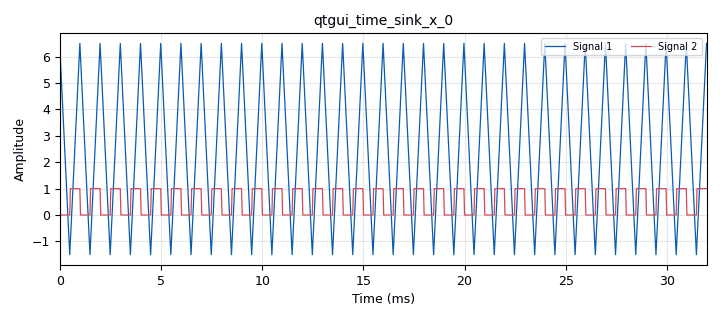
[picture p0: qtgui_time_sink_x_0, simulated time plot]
options:
  parameters:
    generate_options: qt_gui
    id: Bloc_Acum
    output_language: python
    title: Not titled yet
  states: {}

blocks:
- name: samp_rate
  id: variable
  parameters:
    value: '32000'
  states: {}
- name: analog_sig_source_x_0
  id: analog_sig_source_x
  parameters:
    amp: '1'
    freq: '1000'
    offset: '0'
    phase: '0'
    samp_rate: samp_rate
    type: float
    waveform: analog.GR_SQR_WAVE
  states: {}
- name: blocks_vector_source_x_0
  id: blocks_vector_source_x
  parameters:
    repeat: 'True'
    type: float
    vector: (1, 1, 1,1,1,1,-1,-1,-1,-1,-1,-1)
  states: {state: disabled}
- name: epy_block_0
  id: epy_block
  parameters:
    _source_code: |-
      """
      Embedded Python Blocks:

      Each time this file is saved, GRC will instantiate the first class it finds
      to get ports and parameters of your block. The arguments to __init__  will
      be the parameters. All of them are required to have default values!
      """

      import numpy as np
      from gnuradio import gr

      class blk(gr.sync_block):  
          def __init__(self):
              gr.sync_block.__init__(
                  self,
                  name='e_Acum',
                  in_sig=[np.float32],
                  out_sig=[np.float32]
              )
              
              self.acum = 0.0

          def work(self, input_items, output_items):
              x = input_items[0]
              y0 = output_items[0]

              # quitar DC (media del bloque)
              x_mean = np.mean(x)

              for i in range(len(x)):
                  self.acum += (x[i] - x_mean)
                  y0[i] = self.acum

              return len(y0)
  states: {}
- name: qtgui_time_sink_x_0
  id: qtgui_time_sink_x
  parameters:
    autoscale: 'True'
    nconnections: '2'
    size: '1024'
    srate: samp_rate
    type: float
  states: {}

connections:
- [analog_sig_source_x_0, '0', epy_block_0, '0']
- [analog_sig_source_x_0, '0', qtgui_time_sink_x_0, '1']
- [blocks_vector_source_x_0, '0', epy_block_0, '0']
- [blocks_vector_source_x_0, '0', qtgui_time_sink_x_0, '1']
- [epy_block_0, '0', qtgui_time_sink_x_0, '0']

metadata:
  file_format: 1
  grc_version: 3.10.10.0
